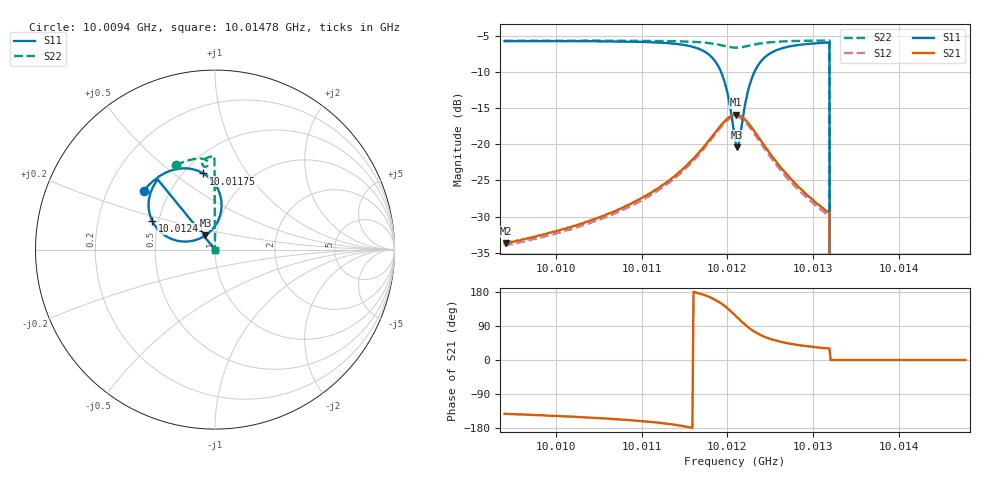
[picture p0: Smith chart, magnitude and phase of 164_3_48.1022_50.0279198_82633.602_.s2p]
#  HZ  S  RI  R  50.00
! Rohde & Schwarz Vector Network Analyzer
! Rohde-Schwarz,ZNB20-2Port,1311601062101988,3.16
! Created: UTC 12/23/2023, 3:51:06 AM
! freq[Hz]  re:S11  im:S11  re:S21  im:S21  re:S12  im:S12  re:S22  im:S22
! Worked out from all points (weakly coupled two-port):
!   401 points, 10.0094 GHz to 10.01478 GHz, reference 50 ohm
!   highest |S21| = -15.94 dB at 10.0121 GHz (marker M1); lowest = -33.7 dB at 10.00941 GHz (marker M2)
!   lowest |S11| = -20.4 dB at 10.01212 GHz (marker M3), VSWR 1.21, Z = 44.4 + j7.09 ohm
!   |S11| at or under -10 dB: 10.01192 GHz to 10.01232 GHz (392.1 kHz wide, 0.00392 % of centre); 10.01319 GHz to end of sweep
!   |S22| runs from - to -5.7 dB; largest |S21 - S12| = 0.008
!   S11 on the Smith chart (normalised r, x): 10.0094 GHz: 0.36, +0.32; 10.01175 GHz: 0.62, +0.65; 10.01241 GHz: 0.46, +0.17; 10.01478 GHz: 1.00, +0.00
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1.0009396e10  -0.3961 0.3284  -0.0162 -0.0127  -0.0149 -0.0129  -0.2177 0.4697
1.0009409e10  -0.3955 0.3293  -0.0163 -0.0126  -0.0152 -0.013  -0.217 0.4701
1.0010298e10  -0.3414 0.3848  -0.0247 -0.0136  -0.0233 -0.0143  -0.162 0.4927
1.00112e10  -0.241 0.4421  -0.0485 -0.0124  -0.0461 -0.0143  -0.0988 0.5073
1.001151e10  -0.1668 0.4529  -0.0698 -0.00531  -0.0671 -0.00856  -0.0731 0.5072
1.0011752e10  -0.0645 0.4242  -0.0987 0.0177  -0.0965 0.0127  -0.0502 0.4991
1.0011873e10  0.00179 0.3618  -0.1137 0.0487  -0.113 0.0418  -0.0403 0.4879
1.0011954e10  0.0338 0.2823  -0.1157 0.0809  -0.1165 0.0733  -0.0378 0.4772
1.0012008e10  0.0334 0.2124  -0.1073 0.107  -0.1092 0.0995  -0.0403 0.4694
1.0012089e10  -0.0206 0.1063  -0.0748 0.1408  -0.0784 0.1341  -0.0504 0.4618
1.0012102e10  -0.036 0.0922  -0.0676 0.1445  -0.0714 0.138  -0.0524 0.4613
1.0012116e10  -0.0533 0.0791  -0.0601 0.1474  -0.0636 0.1413  -0.0548 0.4613
1.0012142e10  -0.0902 0.0595  -0.0445 0.1509  -0.048 0.1452  -0.059 0.4621
1.001221e10  -0.187 0.0457  -0.0063 0.1469  -0.0106 0.1416  -0.0675 0.4683
1.0012264e10  -0.253 0.064  0.0172 0.134  0.0117 0.1297  -0.0705 0.4758
1.0012412e10  -0.35 0.1604  0.0454 0.0908  0.0401 0.0885  -0.0662 0.4948
1.0012654e10  -0.3679 0.2806  0.0455 0.0474  0.0413 0.047  -0.0459 0.5107
1.0012991e10  -0.3385 0.3619  0.034 0.0238  0.0313 0.0241  -0.0183 0.5186
1.0013166e10  -0.3213 0.3868  0.0294 0.0177  0.0272 0.018  -0.00497 0.5204
1.0013233e10  0 0  0 0  0 0  0 0
1.0013893e10  0 0  0 0  0 0  0 0
1.0014782e10  0 0  0 0  0 0  0 0
